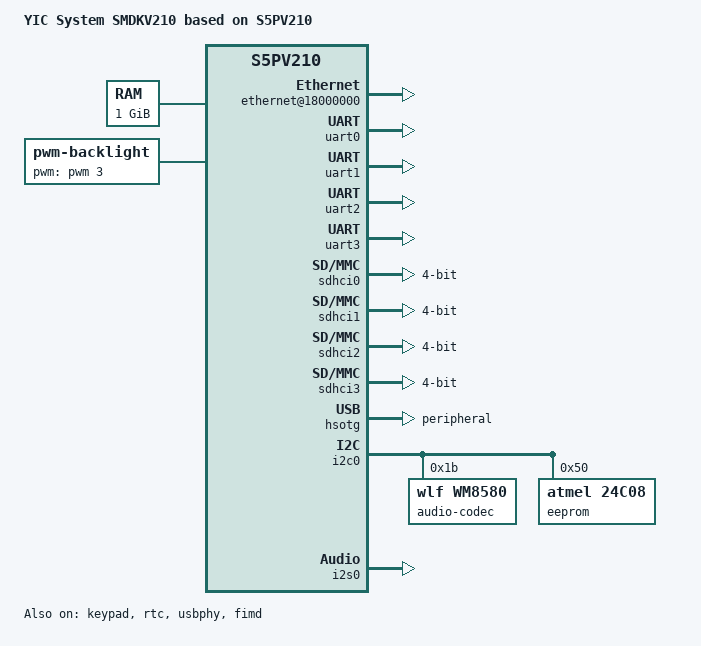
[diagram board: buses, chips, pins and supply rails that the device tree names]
/*
 * Samsung's S5PV210 SoC device tree source
 *
 * Copyright (c) 2013-2014 Samsung Electronics, Co. Ltd.
 *
 * Mateusz Krawczuk <m.krawczuk@partner.samsung.com>
 * Tomasz Figa <t.figa@samsung.com>
 *
 * Board device tree source for YIC System SMDV210 board.
 *
 * NOTE: This file is completely based on original board file for mach-smdkv210
 * available in Linux 3.15 and intends to provide equivalent level of hardware
 * support. Due to lack of hardware, _no_ testing has been performed.
 *
 * This program is free software; you can redistribute it and/or modify
 * it under the terms of the GNU General Public License version 2 as
 * published by the Free Software Foundation.
 */

/dts-v1/;
#include <dt-bindings/input/input.h>
#include "s5pv210.dtsi"

/ {
	model = "YIC System SMDKV210 based on S5PV210";
	compatible = "yic,smdkv210", "samsung,s5pv210";

	chosen {
		bootargs = "console=ttySAC0,115200n8 root=/dev/mmcblk0p1 rw rootwait ignore_loglevel earlyprintk";
	};

	memory {
		device_type = "memory";
		reg = <0x20000000 0x40000000>;
	};

	ethernet@18000000 {
		compatible = "davicom,dm9000";
		reg = <0xA8000000 0x2 0xA8000002 0x2>;
		interrupt-parent = <&gph1>;
		interrupts = <1 4>;
		local-mac-address = [00 00 de ad be ef];
		davicom,no-eeprom;
	};

	backlight {
		compatible = "pwm-backlight";
		pwms = <&pwm 3 5000000 0>;
		brightness-levels = <0 4 8 16 32 64 128 255>;
		default-brightness-level = <6>;
		pinctrl-names = "default";
		pinctrl-0 = <&pwm3_out>;
	};
};

&xusbxti {
	clock-frequency = <24000000>;
};

&keypad {
	linux,input-no-autorepeat;
	linux,input-wakeup;
	samsung,keypad-num-rows = <8>;
	samsung,keypad-num-columns = <8>;
	pinctrl-names = "default";
	pinctrl-0 = <&keypad_row0>, <&keypad_row1>, <&keypad_row2>,
			<&keypad_row3>, <&keypad_row4>, <&keypad_row5>,
			<&keypad_row6>, <&keypad_row7>,
			<&keypad_col0>, <&keypad_col1>, <&keypad_col2>,
			<&keypad_col3>, <&keypad_col4>, <&keypad_col5>,
			<&keypad_col6>, <&keypad_col7>;
	status = "okay";

	key_1 {
		keypad,row = <0>;
		keypad,column = <3>;
		linux,code = <KEY_1>;
	};

	key_2 {
		keypad,row = <0>;
		keypad,column = <4>;
		linux,code = <KEY_2>;
	};

	key_3 {
		keypad,row = <0>;
		keypad,column = <5>;
		linux,code = <KEY_3>;
	};

	key_4 {
		keypad,row = <0>;
		keypad,column = <6>;
		linux,code = <KEY_4>;
	};

	key_5 {
		keypad,row = <0
		>;
		keypad,column = <7>;
		linux,code = <KEY_5>;
	};

	key_6 {
		keypad,row = <1>;
		keypad,column = <3>;
		linux,code = <KEY_A>;
	};
	key_7 {
		keypad,row = <1>;
		keypad,column = <4>;
		linux,code = <KEY_B>;
	};

	key_8 {
		keypad,row = <1>;
		keypad,column = <5>;
		linux,code = <KEY_C>;
	};

	key_9 {
		keypad,row = <1>;
		keypad,column = <6>;
		linux,code = <KEY_D>;
	};

	key_10 {
		keypad,row = <1>;
		keypad,column = <7>;
		linux,code = <KEY_E>;
	};
};

&uart0 {
	status = "okay";
};

&uart1 {
	status = "okay";
};

&uart2 {
	status = "okay";
};

&uart3 {
	status = "okay";
};

&rtc {
	status = "okay";
};

&sdhci0 {
	bus-width = <4>;
	pinctrl-0 = <&sd0_clk &sd0_cmd &sd0_cd &sd0_bus1 &sd0_bus4>;
	pinctrl-names = "default";
	status = "okay";
};

&sdhci1 {
	bus-width = <4>;
	pinctrl-0 = <&sd1_clk &sd1_cmd &sd1_cd &sd1_bus1 &sd1_bus4>;
	pinctrl-names = "default";
	status = "okay";
};

&sdhci2 {
	bus-width = <4>;
	pinctrl-0 = <&sd2_clk &sd2_cmd &sd2_cd &sd2_bus1 &sd2_bus4>;
	pinctrl-names = "default";
	status = "okay";
};

&sdhci3 {
	bus-width = <4>;
	pinctrl-0 = <&sd3_clk &sd3_cmd &sd3_cd &sd3_bus1 &sd3_bus4>;
	pinctrl-names = "default";
	status = "okay";
};

&hsotg {
	dr_mode = "peripheral";
	status = "okay";
};

&usbphy {
	status = "okay";
};

&fimd {
	pinctrl-0 = <&lcd_clk &lcd_data24>;
	pinctrl-names = "default";
	status = "okay";

	display-timings {
		native-mode = <&timing0>;

		timing0: timing@0 {
			/* 800x480@60Hz */
			clock-frequency = <24373920>;
			hactive = <800>;
			vactive = <480>;
			hfront-porch = <8>;
			hback-porch = <13>;
			hsync-len = <3>;
			vback-porch = <7>;
			vfront-porch = <5>;
			vsync-len = <1>;
			hsync-active = <0>;
			vsync-active = <0>;
			de-active = <1>;
			pixelclk-active = <1>;
		};
	};
};

&pwm {
	samsung,pwm-outputs = <3>;
};

&i2c0 {
	status = "okay";

	audio-codec@1b {
		compatible = "wlf,wm8580";
		reg = <0x1b>;
	};

	eeprom@50 {
		compatible = "atmel,24c08";
		reg = <0x50>;
	};
};

&i2s0 {
	status = "okay";
};
